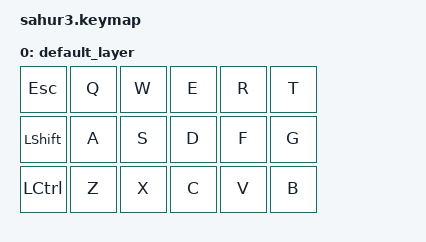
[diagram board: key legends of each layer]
// This file was generated from a template. Edit it to match your keyboard.
// See https://zmk.dev/docs/development/hardware-integration/new-shield for more instructions.

#include <behaviors.dtsi>
#include <dt-bindings/zmk/keys.h>

/ {
    keymap {
        compatible = "zmk,keymap";

        default_layer { // Layer 0
            bindings = <
                &kp ESC   &kp Q    &kp W    &kp E    &kp R    &kp T
                &kp LSHFT &kp A    &kp S    &kp D    &kp F    &kp G
                &kp LCTRL &kp Z    &kp X    &kp C    &kp V    &kp B
            >;
        };
    };
 };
